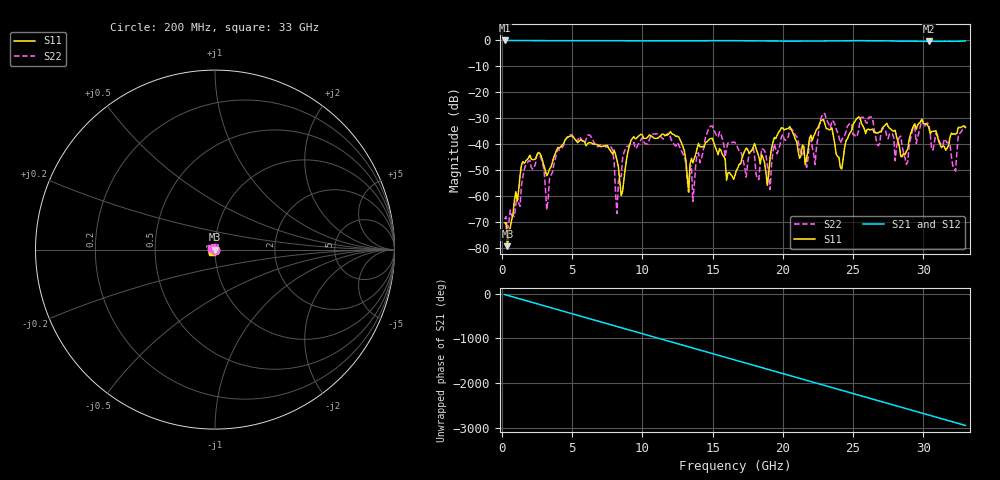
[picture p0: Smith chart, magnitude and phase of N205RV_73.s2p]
# GHZ S RI R 50
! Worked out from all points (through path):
!   329 points, 200 MHz to 33 GHz, reference 50 ohm
!   highest |S21| = -0.02 dB at 200 MHz (marker M1); lowest = -0.4 dB at 30.4 GHz (marker M2)
!   group delay of S21, straight-line fit = 248 ps
!   lowest |S11| = -79.2 dB at 400 MHz (marker M3), VSWR 1.00, Z = 50 + j0.0108 ohm
!   |S11| at or under -10 dB: start of sweep to end of sweep
!   |S22| runs from -73.1 to -27.9 dB; largest |S21 - S12| = 0.0019
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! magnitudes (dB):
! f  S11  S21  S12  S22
! 200 MHz  -70.2  0.0  0.0  -68.8
! 400 MHz  -79.2  0.0  0.0  -73.1
! 1.5 GHz  -46.7  -0.1  -0.1  -52.5
! 2.7 GHz  -43.5  -0.1  -0.1  -44.4
! 3.2 GHz  -52.1  -0.1  -0.1  -65.2
! 4 GHz  -41.2  -0.1  -0.1  -41.8
! 5.7 GHz  -38.5  -0.1  -0.1  -38.3
! 7.8 GHz  -43.0  -0.1  -0.1  -41.2
! 8.2 GHz  -46.2  -0.1  -0.1  -66.6
! 8.8 GHz  -48.7  -0.1  -0.1  -41.9
! 11.2 GHz  -37.1  -0.2  -0.2  -36.5
! 13.6 GHz  -47.1  -0.2  -0.2  -61.9
! 14.8 GHz  -37.9  -0.1  -0.1  -33.3
! 16.6 GHz  -51.9  -0.1  -0.1  -39.2
! 19.1 GHz  -45.1  -0.2  -0.2  -57.4
! 20 GHz  -33.7  -0.3  -0.3  -36.1
! 22.1 GHz  -38.4  -0.3  -0.3  -41.2
! 27.6 GHz  -33.8  -0.2  -0.2  -35.9
! 28.8 GHz  -42.6  -0.3  -0.3  -47.7
! 30.4 GHz  -33.5  -0.4  -0.4  -32.2
! 32.3 GHz  -36.1  -0.3  -0.3  -50.3
! 33 GHz  -33.5  -0.2  -0.2  -32.8
